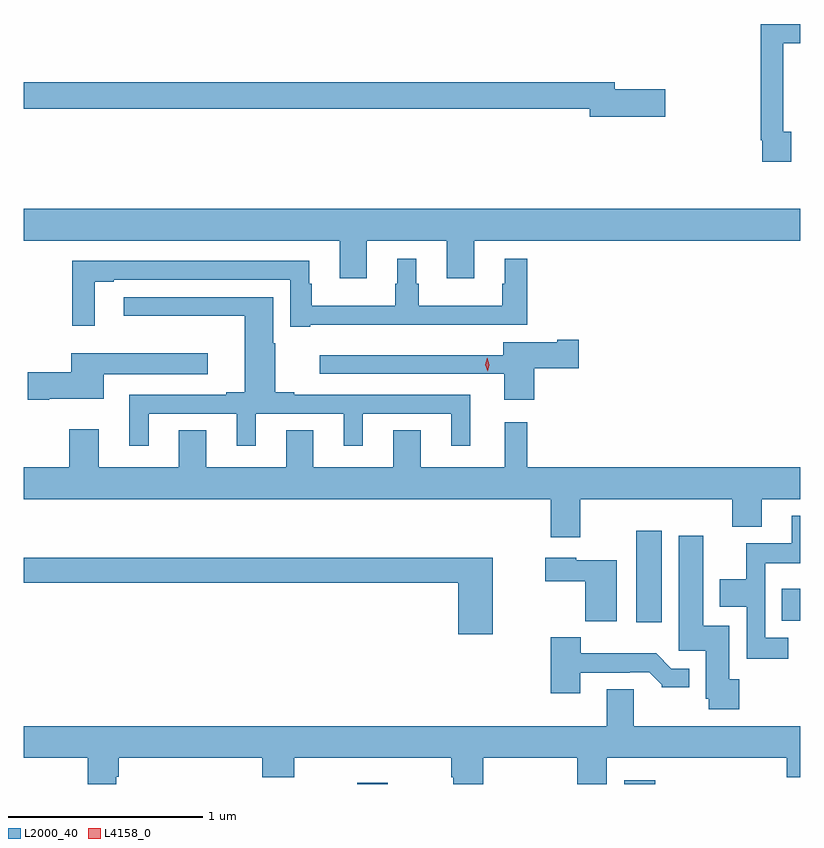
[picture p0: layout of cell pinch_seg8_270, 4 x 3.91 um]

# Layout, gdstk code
import gdstk
lib = gdstk.Library(unit=1e-6, precision=1e-09)
def R(c, l, rs):  # rectangles x0, y0, x1, y1
    for r in rs: c.add(gdstk.rectangle(r[:2], r[2:], *l))
def P(c, l, *ps):  # polygons
    for p in ps: c.add(gdstk.Polygon(p, *l))
L2000_40 = (2000, 40)
L4158_0 = (4158, 0)

pinch_seg8_270 = lib.new_cell('pinch_seg8_270')
R(pinch_seg8_270, L2000_40, [(555.09,1156.326,555.246,1156.333), (556.464,1156.326,556.625,1156.345), (556.526,1157.16,556.657,1157.629), (557.275,1157.168,557.371,1157.332)])
P(pinch_seg8_270, L2000_40, [(557.323,1159.686),(557.283,1159.686),(557.283,1160.142),(557.371,1160.142),(557.371,1160.24),(557.167,1160.24),(557.167,1159.642),(557.175,1159.642),(557.175,1159.53),(557.323,1159.53)],
  [(556.675,1159.904),(556.414,1159.904),(556.414,1159.94),(553.371,1159.94),(553.371,1159.804),(556.286,1159.804),(556.286,1159.762),(556.675,1159.762)],
  [(555.139,1159.124),(555.551,1159.124),(555.551,1158.93),(555.691,1158.93),(555.691,1159.124),(557.371,1159.124),(557.371,1159.288),(553.371,1159.288),(553.371,1159.124),(554.999,1159.124),(554.999,1158.93),(555.139,1158.93)],
  [(554.848,1158.692),(555.965,1158.692),(555.965,1159.03),(555.848,1159.03),(555.848,1158.902),(555.837,1158.902),(555.837,1158.79),(555.406,1158.79),(555.406,1158.902),(555.394,1158.902),(555.394,1159.03),(555.296,1159.03),(555.296,1158.902),(555.285,1158.902),(555.285,1158.79),(554.854,1158.79),(554.854,1158.902),(554.842,1158.902),(554.842,1159.02),(553.621,1159.02),(553.621,1158.687),(553.738,1158.687),(553.738,1158.912),(553.834,1158.912),(553.834,1158.924),(554.745,1158.924),(554.745,1158.681),(554.848,1158.681)],
  [(554.014,1158.234),(554.468,1158.234),(554.468,1158.069),(554.566,1158.069),(554.566,1158.234),(555.02,1158.234),(555.02,1158.069),(555.118,1158.069),(555.118,1158.234),(555.572,1158.234),(555.572,1158.069),(555.671,1158.069),(555.671,1158.33),(554.764,1158.33),(554.764,1158.343),(554.668,1158.343),(554.668,1158.597),(554.656,1158.597),(554.656,1158.834),(553.887,1158.834),(553.887,1158.737),(554.51,1158.737),(554.51,1158.343),(554.414,1158.343),(554.414,1158.33),(553.916,1158.33),(553.916,1158.069),(554.014,1158.069)],
  [(556.001,1158.467),(556.231,1158.467),(556.231,1158.614),(556.118,1158.614),(556.118,1158.601),(555.842,1158.601),(555.842,1158.535),(554.895,1158.535),(554.895,1158.438),(555.845,1158.438),(555.845,1158.306),(556.001,1158.306)],
  [(553.504,1158.311),(553.783,1158.311),(553.783,1158.437),(554.32,1158.437),(554.32,1158.544),(553.616,1158.544),(553.616,1158.446),(553.392,1158.446),(553.392,1158.304),(553.504,1158.304)],
  [(556.237,1157.792),(557.021,1157.792),(557.021,1157.651),(557.173,1157.651),(557.173,1157.792),(557.371,1157.792),(557.371,1157.956),(555.965,1157.956),(555.965,1158.19),(555.848,1158.19),(555.848,1157.956),(555.415,1157.956),(555.415,1158.149),(555.275,1158.149),(555.275,1157.956),(554.863,1157.956),(554.863,1158.149),(554.723,1158.149),(554.723,1157.956),(554.311,1157.956),(554.311,1158.149),(554.171,1158.149),(554.171,1157.956),(553.759,1157.956),(553.759,1158.154),(553.607,1158.154),(553.607,1157.956),(553.371,1157.956),(553.371,1157.792),(556.085,1157.792),(556.085,1157.598),(556.237,1157.598)],
  [(557.308,1157.079),(557.19,1157.079),(557.19,1157.462),(557.371,1157.462),(557.371,1157.707),(557.327,1157.707),(557.327,1157.566),(557.092,1157.566),(557.092,1157.38),(556.955,1157.38),(556.955,1157.24),(557.094,1157.24),(557.094,1156.971),(557.308,1156.971)],
  [(557.057,1156.866),(557.005,1156.866),(557.005,1157.14),(556.87,1157.14),(556.87,1157.605),(556.745,1157.605),(556.745,1157.013),(556.883,1157.013),(556.883,1156.764),(556.9,1156.764),(556.9,1156.71),(557.057,1156.71)],
  [(556.426,1157.479),(556.218,1157.479),(556.218,1157.491),(556.056,1157.491),(556.056,1157.369),(556.264,1157.369),(556.264,1157.165),(556.426,1157.165)],
  [(555.786,1157.491),(553.371,1157.491),(553.371,1157.362),(555.608,1157.362),(555.608,1157.097),(555.786,1157.097)],
  [(556.237,1156.899),(556.493,1156.899),(556.493,1156.902),(556.592,1156.902),(556.656,1156.838),(556.656,1156.823),(556.798,1156.823),(556.798,1156.92),(556.707,1156.92),(556.629,1156.999),(556.24,1156.999),(556.24,1157.083),(556.085,1157.083),(556.085,1156.794),(556.237,1156.794)],
  [(553.849,1156.364),(553.862,1156.364),(553.862,1156.46),(554.6,1156.46),(554.6,1156.361),(554.765,1156.361),(554.765,1156.46),(555.572,1156.46),(555.572,1156.362),(555.584,1156.362),(555.584,1156.326),(555.737,1156.326),(555.737,1156.46),(556.223,1156.46),(556.223,1156.326),(556.375,1156.326),(556.375,1156.46),(557.3,1156.46),(557.3,1156.361),(557.371,1156.361),(557.371,1156.624),(556.513,1156.624),(556.513,1156.814),(556.373,1156.814),(556.373,1156.624),(553.371,1156.624),(553.371,1156.46),(553.702,1156.46),(553.702,1156.326),(553.849,1156.326)])
P(pinch_seg8_270, L4158_0, [(555.76,1158.451),(555.76,1158.451),(555.749,1158.486),(555.758,1158.521),(555.758,1158.521),(555.758,1158.521),(555.769,1158.486),(555.76,1158.451)])

lib.write_gds('pinch_seg8_270.gds')
